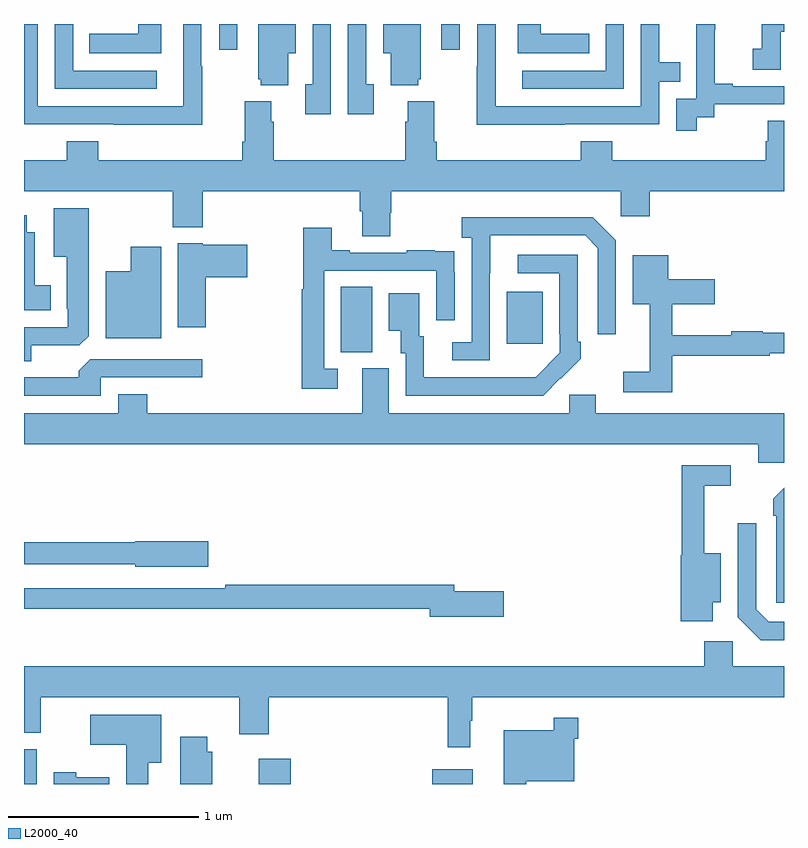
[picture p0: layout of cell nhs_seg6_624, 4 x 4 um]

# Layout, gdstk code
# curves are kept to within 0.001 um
import gdstk
lib = gdstk.Library(unit=1e-6, precision=1e-09)
def R(c, l, rs):  # rectangles x0, y0, x1, y1
    for r in rs: c.add(gdstk.rectangle(r[:2], r[2:], *l))
def P(c, l, *ps):  # polygons
    for p in ps: c.add(gdstk.Polygon(p, *l))
L2000_40 = (2000, 40)

nhs_seg6_624 = lib.new_cell('nhs_seg6_624')
R(nhs_seg6_624, L2000_40, [(149,993.5,149.068,993.684), (150.236,993.5,150.404,993.634), (151.148,993.5,151.363,993.577), (150.668,995.773,150.832,996.116), (151.541,995.817,151.729,996.091), (150.027,997.365,150.123,997.5), (151.197,997.365,151.293,997.5)])
P(nhs_seg6_624, L2000_40, [(151.076,997.209),(151.087,997.209),(151.087,997.5),(150.89,997.5),(150.89,997.346),(150.929,997.346),(150.929,997.178),(151.076,997.178)],
  [(151.847,996.972),(152.343,996.972),(152.343,997.197),(152.453,997.197),(152.453,997.298),(152.343,997.298),(152.343,997.5),(152.247,997.5),(152.247,997.068),(151.482,997.068),(151.482,997.5),(151.386,997.5),(151.386,997.277),(151.384,997.277),(151.384,996.971),(151.847,996.971)],
  [(149.722,997.5),(149.601,997.5),(149.601,997.45),(149.344,997.45),(149.344,997.346),(149.722,997.346)],
  [(150.391,997.346),(150.43,997.346),(150.43,997.5),(150.233,997.5),(150.233,997.209),(150.245,997.209),(150.245,997.178),(150.391,997.178)],
  [(152.542,997.009),(152.634,997.009),(152.634,997.077),(153,997.077),(153,997.173),(152.731,997.173),(152.731,997.186),(152.636,997.186),(152.636,997.469),(152.637,997.469),(152.637,997.5),(152.537,997.5),(152.537,997.337),(152.538,997.337),(152.538,997.107),(152.433,997.107),(152.433,996.939),(152.542,996.939)],
  [(152.157,997.5),(152.061,997.5),(152.061,997.254),(151.623,997.254),(151.623,997.158),(152.157,997.158)],
  [(152.982,997.458),(153,997.458),(153,997.5),(152.884,997.5),(152.884,997.369),(152.835,997.369),(152.835,997.26),(152.982,997.26)],
  [(151.976,997.45),(151.719,997.45),(151.719,997.5),(151.598,997.5),(151.598,997.346),(151.976,997.346)],
  [(149.698,997.254),(149.259,997.254),(149.259,997.5),(149.163,997.5),(149.163,997.158),(149.698,997.158)],
  [(150.615,997.5),(150.519,997.5),(150.519,997.182),(150.479,997.182),(150.479,997.026),(150.615,997.026)],
  [(150.841,997.182),(150.801,997.182),(150.801,997.5),(150.705,997.5),(150.705,997.026),(150.841,997.026)],
  [(149.937,997.277),(149.934,997.277),(149.934,997.5),(149.838,997.5),(149.838,997.068),(149.073,997.068),(149.073,997.5),(149,997.5),(149,996.972),(149.473,996.972),(149.473,996.971),(149.937,996.971)],
  [(152.142,996.489),(152.294,996.489),(152.294,996.62),(153,996.62),(153,996.992),(152.915,996.992),(152.915,996.882),(152.903,996.882),(152.903,996.784),(152.096,996.784),(152.096,996.883),(151.931,996.883),(151.931,996.784),(151.172,996.784),(151.172,996.88),(151.159,996.88),(151.159,997.093),(151.019,997.093),(151.019,996.986),(151.007,996.986),(151.007,996.784),(150.314,996.784),(150.314,996.986),(150.301,996.986),(150.301,997.093),(150.161,997.093),(150.161,996.88),(150.149,996.88),(150.149,996.784),(149.39,996.784),(149.39,996.883),(149.225,996.883),(149.225,996.784),(149,996.784),(149,996.62),(149.782,996.62),(149.782,996.431),(149.942,996.431),(149.942,996.62),(150.767,996.62),(150.767,996.514),(150.779,996.514),(150.779,996.382),(150.927,996.382),(150.927,996.507),(150.932,996.507),(150.932,996.62),(152.142,996.62)],
  [(149.038,995.808),(149.292,995.808),(149.341,995.857),(149.341,996.529),(149.156,996.529),(149.156,996.275),(149.225,996.275),(149.225,996.001),(149.229,996.001),(149.229,995.904),(149,995.904),(149,995.725),(149.038,995.725)],
  [(149.14,996.124),(149.056,996.124),(149.056,996.403),(149.014,996.403),(149.014,996.493),(149,996.493),(149,995.993),(149.14,995.993)],
  [(151.452,996.187),(151.453,996.387),(151.953,996.387),(152.019,996.321),(152.019,995.868),(152.115,995.868),(152.115,996.363),(151.994,996.484),(151.305,996.484),(151.305,996.374),(151.356,996.374),(151.356,995.826),(151.254,995.826),(151.254,995.73),(151.452,995.73)],
  [(150.652,995.685),(150.579,995.685),(150.579,996.201),(151.17,996.201),(151.17,995.94),(151.266,995.94),(151.266,996.194),(151.265,996.194),(151.265,996.303),(151.163,996.303),(151.163,996.31),(151.015,996.31),(151.015,996.297),(150.715,996.297),(150.715,996.31),(150.619,996.31),(150.619,996.427),(150.471,996.427),(150.471,996.104),(150.463,996.104),(150.463,995.58),(150.652,995.58)],
  [(149.957,996.167),(150.175,996.167),(150.175,996.337),(149.94,996.337),(149.94,996.346),(149.81,996.346),(149.81,995.904),(149.957,995.904)],
  [(149.722,996.328),(149.561,996.328),(149.561,996.199),(149.429,996.199),(149.429,995.846),(149.722,995.846)],
  [(151.823,995.635),(151.824,995.634),(151.929,995.739),(151.929,995.827),(151.914,995.827),(151.914,996.285),(151.599,996.285),(151.599,996.189),(151.818,996.189),(151.818,995.869),(151.821,995.869),(151.821,995.769),(151.693,995.641),(151.105,995.64),(151.105,995.856),(151.081,995.856),(151.081,996.082),(150.92,996.082),(150.92,995.885),(150.983,995.885),(150.983,995.766),(151.008,995.766),(151.008,995.544),(151.732,995.544)],
  [(152.411,995.754),(152.924,995.754),(152.924,995.766),(153,995.766),(153,995.875),(152.888,995.875),(152.888,995.882),(152.722,995.882),(152.722,995.863),(152.411,995.863),(152.411,996.026),(152.635,996.026),(152.635,996.156),(152.392,996.156),(152.392,996.283),(152.204,996.283),(152.204,996.026),(152.294,996.026),(152.294,995.671),(152.154,995.671),(152.154,995.562),(152.411,995.562)],
  [(149.403,995.64),(149.938,995.64),(149.938,995.736),(149.349,995.736),(149.288,995.674),(149.288,995.64),(149,995.64),(149,995.544),(149.403,995.544)],
  [(153,995.452),(152.008,995.452),(152.008,995.55),(151.869,995.55),(151.869,995.452),(150.919,995.452),(150.919,995.688),(150.779,995.688),(150.779,995.452),(149.648,995.452),(149.648,995.551),(149.495,995.551),(149.495,995.452),(149,995.452),(149,995.288),(152.864,995.288),(152.864,995.19),(153,995.19)],
  [(152.626,994.457),(152.668,994.457),(152.668,994.714),(152.579,994.714),(152.579,995.07),(152.719,995.07),(152.719,995.178),(152.461,995.178),(152.461,994.704),(152.456,994.704),(152.456,994.356),(152.626,994.356)],
  [(153,995.058),(152.943,995.001),(152.943,994.913),(152.958,994.913),(152.958,994.455),(153,994.455)],
  [(153,994.353),(152.919,994.353),(152.853,994.419),(152.853,994.873),(152.757,994.873),(152.757,994.377),(152.878,994.256),(153,994.256)],
  [(149.971,994.778),(149.586,994.778),(149.586,994.772),(149,994.772),(149,994.656),(149.586,994.656),(149.586,994.643),(149.971,994.643)],
  [(151.525,994.514),(151.264,994.514),(151.264,994.55),(150.058,994.55),(150.058,994.53),(149,994.53),(149,994.422),(151.136,994.422),(151.136,994.379),(151.525,994.379)],
  [(151.348,993.833),(151.36,993.833),(151.36,993.956),(153,993.956),(153,994.12),(152.73,994.12),(152.73,994.252),(152.579,994.252),(152.579,994.12),(149,994.12),(149,993.769),(149.089,993.769),(149.089,993.956),(150.134,993.956),(150.134,993.762),(150.287,993.762),(150.287,993.956),(151.231,993.956),(151.231,993.693),(151.348,993.693)],
  [(149.653,993.611),(149.722,993.611),(149.722,993.865),(149.349,993.865),(149.349,993.707),(149.537,993.707),(149.537,993.5),(149.653,993.5)],
  [(151.643,993.515),(151.896,993.515),(151.896,993.737),(151.916,993.737),(151.916,993.85),(151.788,993.85),(151.788,993.784),(151.526,993.784),(151.526,993.5),(151.643,993.5)],
  [(149.992,993.669),(149.965,993.669),(149.965,993.748),(149.822,993.748),(149.822,993.5),(149.992,993.5)],
  [(149.449,993.535),(149.274,993.535),(149.274,993.562),(149.156,993.562),(149.156,993.5),(149.449,993.5)])

lib.write_gds('nhs_seg6_624.gds')
